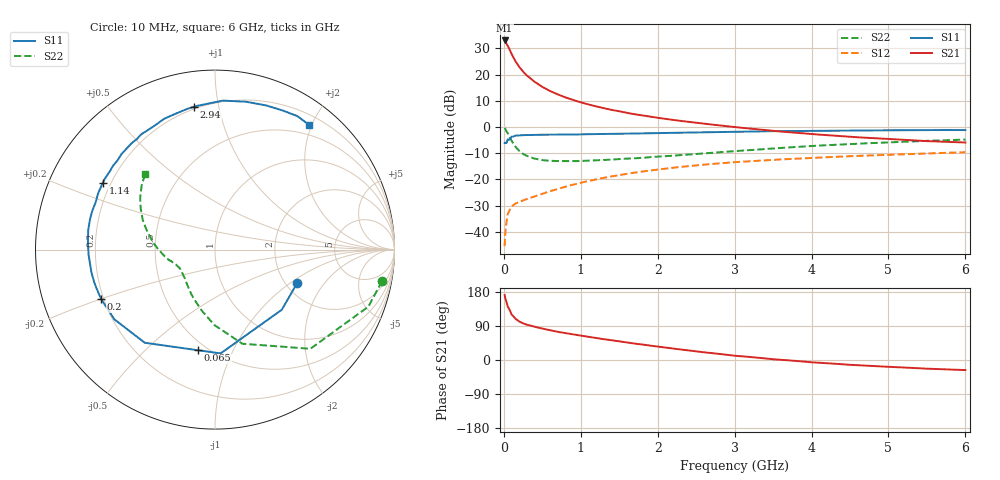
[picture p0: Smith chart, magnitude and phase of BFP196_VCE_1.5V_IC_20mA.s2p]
! Infineon Technologies  Discrete & RF Semiconductors
! BFP196
! VCE = 1.5 V,  IC =  20mA
! Common Emitter S-Parameters:  Jan 2016
# GHz  S  MA  R  50
!  f  S11  S21  S12  S22
! GHz  MAG  ANG  MAG  ANG  MAG  ANG  MAG  ANG
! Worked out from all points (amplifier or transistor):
!   210 points, 10 MHz to 6 GHz, reference 50 ohm
!   highest |S21| = 33.0 dB at 10 MHz (marker M1)
!   |S21| within 3 dB of that: start of sweep to 66.57 MHz
!   unconditionally stable (mu >= 1): 651.6 MHz to 3.467 GHz; 3.561 GHz to 4.448 GHz
!   at 185 MHz: K = 0.48, MSG = 26.2 dB, |S12| = -28.8 dB
!   at 1.52 GHz: K = 1.12, MAG = 10.0 dB, |S12| = -18.3 dB
!   at 6 GHz: K = 0.99, MSG = 1.9 dB, |S12| = -9.7 dB
!   S11 on the Smith chart (normalised r, x): 10 MHz: 2.30, -1.13; 65 MHz: 0.45, -0.74; 200 MHz: 0.19, -0.20; 1.14 GHz: 0.17, +0.27; 2.94 GHz: 0.19, +0.85; 6 GHz: 0.34, +1.97
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0.01  0.4942 -22.2  44.64 171.5  0.0053 82.7  0.9472 -10.7
0.02  0.5008 -42.0  42.57 162.1  0.0098 76.4  0.9117 -20.4
0.05  0.5793 -86.9  35.66 141.1  0.0216 57.9  0.7667 -46.1
0.065  0.5687 -99.7  31.98 136.3  0.024 52.7  0.686 -52.5
0.1  0.65 -127.0  24.66 120.0  0.0302 44.1  0.5463 -73.8
0.15  0.6822 -145.3  17.92 108.7  0.0343 40.2  0.42 -90.5
0.2  0.6918 -156.6  13.98 101.5  0.0371 39.5  0.3492 -102.0
0.24  0.6953 -162.7  11.84 97.8  0.0392 39.9  0.3128 -109.5
0.3  0.7001 -169.6  9.517 93.1  0.042 41.6  0.28 -118.4
0.4  0.7051 -177.8  7.237 87.5  0.0474 44.4  0.2483 -128.9
0.5  0.7093 176.6  5.801 82.8  0.0528 47.5  0.2326 -136.3
0.6  0.7148 171.1  4.849 78.5  0.0592 49.3  0.2257 -141.8
0.7  0.7166 166.2  4.177 74.3  0.0654 51.0  0.2229 -145.7
1.02  0.723 153.7  2.89 63.7  0.0875 52.3  0.2245 -153.9
1.14  0.7273 149.3  2.592 59.9  0.0954 52.3  0.2286 -156.4
1.6  0.7447 134.5  1.851 46.1  0.1276 49.4  0.2484 -163.7
2.02  0.7626 122.0  1.479 34.9  0.1553 45.2  0.2716 -170.1
2.94  0.8041 98.4  1.016 12.8  0.2091 33.8  0.3401 174.7
3.1  0.8097 95.0  0.96 9.7  0.2168 31.6  0.3531 172.0
4.1  0.8428 76.5  0.713 -7.2  0.26 19.8  0.4407 156.5
5.1  0.8635 62.9  0.578 -18.9  0.2975 8.7  0.5136 144.0
6  0.8705 52.8  0.504 -26.6  0.3287 -1.5  0.573 132.9
